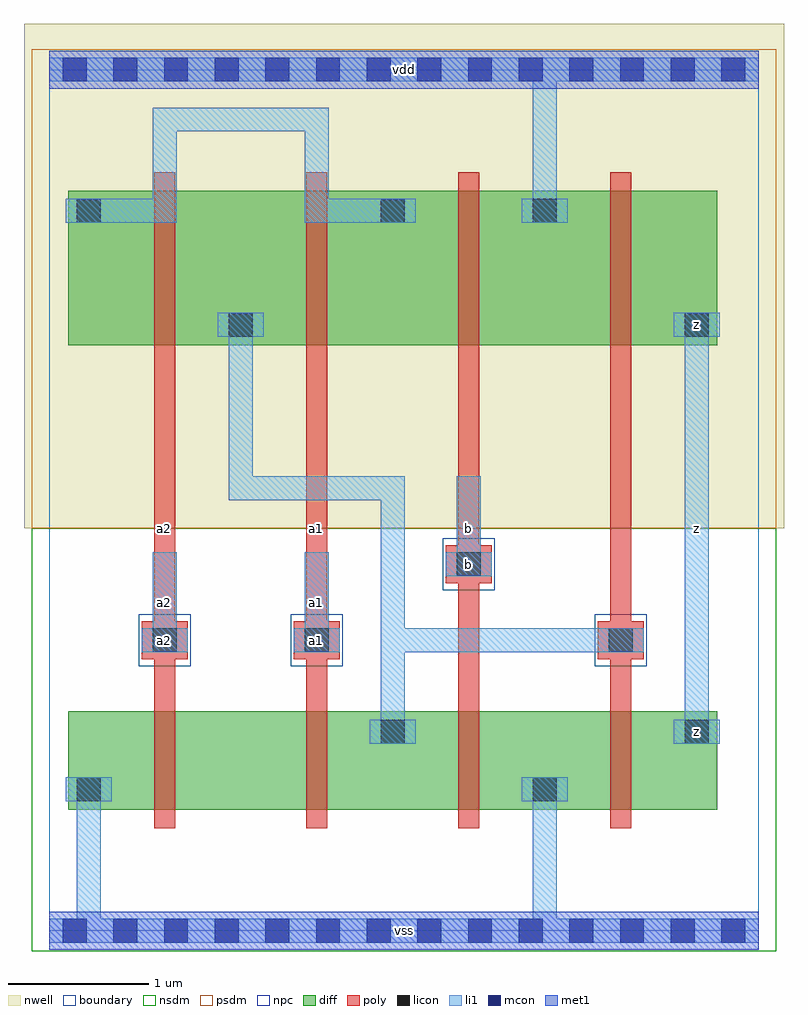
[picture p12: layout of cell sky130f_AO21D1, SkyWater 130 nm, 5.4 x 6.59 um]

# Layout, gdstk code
import gdstk
lib = gdstk.Library(unit=1e-6, precision=1e-09)
def R(c, l, rs):  # rectangles x0, y0, x1, y1
    for r in rs: c.add(gdstk.rectangle(r[:2], r[2:], *l))
def A(c, l, x, y, w, h, nx, ny, dx, dy):  # array of equal rectangles
    R(c, l, [(x+i*dx, y+j*dy, x+i*dx+w, y+j*dy+h) for i in range(nx) for j in range(ny)])
L0_0 = (0, 0)
nwell = (64, 20)
diff = (65, 20)
poly = (66, 20)
licon = (66, 44)
li1 = (67, 20)
mcon = (67, 44)
met1 = (68, 20)
nsdm = (93, 44)
psdm = (94, 20)
npc = (95, 20)
boundary = (235, 4)

sky130f_ao21d1 = lib.new_cell('sky130f_AO21D1')
R(sky130f_ao21d1, nwell, [(-0.18,2.86,5.22,6.445)])
A(sky130f_ao21d1, diff, 0.135, 0.86, 1.37, 0.7, 4, 1, 1.08, 0)
A(sky130f_ao21d1, diff, 0.135, 4.16, 1.37, 1.1, 4, 1, 1.08, 0)
R(sky130f_ao21d1, diff, [(0.135,0.86,0.425,1.15), (3.375,0.86,3.665,1.15), (2.295,1.27,2.585,1.56), (4.455,1.27,4.745,1.56), (1.215,4.16,1.505,4.45), (4.455,4.16,4.745,4.45), (0.135,4.97,0.425,5.26), (2.295,4.97,2.585,5.26), (3.375,4.97,3.665,5.26)])
A(sky130f_ao21d1, poly, 0.745, 0.73, 0.15, 0.96, 4, 1, 1.08, 0)
A(sky130f_ao21d1, poly, 0.745, 1.34, 0.15, 3.04, 3, 1, 1.08, 0)
A(sky130f_ao21d1, poly, 0.745, 4.03, 0.15, 1.36, 4, 1, 1.08, 0)
R(sky130f_ao21d1, poly, [(3.985,1.34,4.135,2.14), (0.655,1.93,0.985,2.2), (1.735,1.93,2.065,2.2), (3.895,1.93,4.225,2.2), (3.985,1.99,4.135,4.38), (2.815,2.47,3.145,2.74)])
R(sky130f_ao21d1, licon, [(0.195,0.92,0.365,1.09), (3.435,0.92,3.605,1.09), (2.355,1.33,2.525,1.5), (4.515,1.33,4.685,1.5), (0.735,1.98,0.905,2.15), (1.815,1.98,1.985,2.15), (3.975,1.98,4.145,2.15), (2.895,2.52,3.065,2.69), (1.275,4.22,1.445,4.39), (4.515,4.22,4.685,4.39), (0.195,5.03,0.365,5.2), (2.355,5.03,2.525,5.2), (3.435,5.03,3.605,5.2)])
R(sky130f_ao21d1, li1, [(0,-0.085,5.04,0.085), (0.195,0.06,0.365,1.09), (3.435,0.06,3.605,1.09), (0.115,0.92,0.445,1.09), (3.355,0.92,3.685,1.09), (2.275,1.33,2.605,1.5), (2.355,1.33,2.525,2.15), (4.435,1.33,4.765,1.5), (4.515,1.33,4.685,4.39), (0.655,1.98,0.985,2.15), (0.735,1.98,0.905,2.69), (1.735,1.98,2.065,2.15), (1.815,1.98,1.985,2.69), (2.355,1.98,4.145,2.15), (2.355,1.98,2.525,3.23), (3.895,1.98,4.225,2.15), (2.815,2.52,3.145,2.69), (2.895,2.52,3.065,3.23), (1.275,3.06,2.525,3.23), (1.275,3.06,1.445,4.39), (1.195,4.22,1.525,4.39), (4.435,4.22,4.765,4.39), (0.115,5.03,0.445,5.2), (0.195,5.03,0.905,5.2), (0.735,5.03,0.905,5.85), (1.815,5.03,1.985,5.85), (1.815,5.03,2.525,5.2), (2.275,5.03,2.605,5.2), (3.355,5.03,3.685,5.2), (3.435,5.03,3.605,6.06), (0.735,5.68,1.985,5.85), (0,6.035,5.04,6.205)])
A(sky130f_ao21d1, mcon, 0.095, -0.085, 0.17, 0.17, 14, 2, 0.36, 6.12)
R(sky130f_ao21d1, met1, [(0,-0.135,5.04,0.135), (0,5.985,5.04,6.255)])
R(sky130f_ao21d1, nsdm, [(-0.125,-0.145,5.165,0.145), (-0.125,0.145,5.165,2.86)])
R(sky130f_ao21d1, psdm, [(-0.125,2.86,5.165,5.975), (-0.125,5.975,5.165,6.265)])
R(sky130f_ao21d1, npc, [(0.635,1.88,1.005,2.25), (1.715,1.88,2.085,2.25), (3.875,1.88,4.245,2.25), (2.795,2.42,3.165,2.79)])
R(sky130f_ao21d1, boundary, [(0,0,5.04,6.12)])
sky130f_ao21d1.add(gdstk.FlexPath([(0.115,0.355),(4.765,0.355)], 0, ends="flush", simple_path=True, layer=0, datatype=0))  # L0_0
sky130f_ao21d1.add(gdstk.FlexPath([(0.115,1.005),(4.765,1.005)], 0, ends="flush", simple_path=True, layer=0, datatype=0))  # L0_0
sky130f_ao21d1.add(gdstk.FlexPath([(0.115,1.415),(4.765,1.415)], 0, ends="flush", simple_path=True, layer=0, datatype=0))  # L0_0
sky130f_ao21d1.add(gdstk.FlexPath([(0.115,2.065),(4.765,2.065)], 0, ends="flush", simple_path=True, layer=0, datatype=0))  # L0_0
sky130f_ao21d1.add(gdstk.FlexPath([(0.115,2.605),(4.765,2.605)], 0, ends="flush", simple_path=True, layer=0, datatype=0))  # L0_0
sky130f_ao21d1.add(gdstk.FlexPath([(0.115,3.145),(4.765,3.145)], 0, ends="flush", simple_path=True, layer=0, datatype=0))  # L0_0
sky130f_ao21d1.add(gdstk.FlexPath([(0.115,4.305),(4.765,4.305)], 0, ends="flush", simple_path=True, layer=0, datatype=0))  # L0_0
sky130f_ao21d1.add(gdstk.FlexPath([(0.115,4.775),(4.765,4.775)], 0, ends="flush", simple_path=True, layer=0, datatype=0))  # L0_0
sky130f_ao21d1.add(gdstk.FlexPath([(0.115,5.115),(4.765,5.115)], 0, ends="flush", simple_path=True, layer=0, datatype=0))  # L0_0
sky130f_ao21d1.add(gdstk.FlexPath([(0.115,5.765),(4.765,5.765)], 0, ends="flush", simple_path=True, layer=0, datatype=0))  # L0_0
sky130f_ao21d1.add(gdstk.FlexPath([(0.28,0.06),(0.28,6.06)], 0, ends="flush", simple_path=True, layer=0, datatype=0))  # L0_0
sky130f_ao21d1.add(gdstk.FlexPath([(0.82,0.06),(0.82,6.06)], 0, ends="flush", simple_path=True, layer=0, datatype=0))  # L0_0
sky130f_ao21d1.add(gdstk.FlexPath([(1.36,0.06),(1.36,6.06)], 0, ends="flush", simple_path=True, layer=0, datatype=0))  # L0_0
sky130f_ao21d1.add(gdstk.FlexPath([(1.9,0.06),(1.9,6.06)], 0, ends="flush", simple_path=True, layer=0, datatype=0))  # L0_0
sky130f_ao21d1.add(gdstk.FlexPath([(2.44,0.06),(2.44,6.06)], 0, ends="flush", simple_path=True, layer=0, datatype=0))  # L0_0
sky130f_ao21d1.add(gdstk.FlexPath([(2.98,0.06),(2.98,6.06)], 0, ends="flush", simple_path=True, layer=0, datatype=0))  # L0_0
sky130f_ao21d1.add(gdstk.FlexPath([(3.52,0.06),(3.52,6.06)], 0, ends="flush", simple_path=True, layer=0, datatype=0))  # L0_0
sky130f_ao21d1.add(gdstk.FlexPath([(4.06,0.06),(4.06,6.06)], 0, ends="flush", simple_path=True, layer=0, datatype=0))  # L0_0
sky130f_ao21d1.add(gdstk.FlexPath([(4.6,0.06),(4.6,6.06)], 0, ends="flush", simple_path=True, layer=0, datatype=0))  # L0_0
sky130f_ao21d1.add(gdstk.Label('z', (4.6,1.415), layer=65, texttype=20))
sky130f_ao21d1.add(gdstk.Label('z', (4.6,4.305), layer=65, texttype=20))
sky130f_ao21d1.add(gdstk.Label('a2', (0.82,2.86), layer=66, texttype=20))
sky130f_ao21d1.add(gdstk.Label('a2', (0.82,2.065), layer=66, texttype=20))
sky130f_ao21d1.add(gdstk.Label('a1', (1.9,2.86), layer=66, texttype=20))
sky130f_ao21d1.add(gdstk.Label('a1', (1.9,2.065), layer=66, texttype=20))
sky130f_ao21d1.add(gdstk.Label('b', (2.98,2.86), layer=66, texttype=20))
sky130f_ao21d1.add(gdstk.Label('b', (2.98,2.605), layer=66, texttype=20))
sky130f_ao21d1.add(gdstk.Label('z', (4.6,1.415), layer=66, texttype=44))
sky130f_ao21d1.add(gdstk.Label('z', (4.6,4.305), layer=66, texttype=44))
sky130f_ao21d1.add(gdstk.Label('a2', (0.82,2.065), layer=66, texttype=44))
sky130f_ao21d1.add(gdstk.Label('a1', (1.9,2.065), layer=66, texttype=44))
sky130f_ao21d1.add(gdstk.Label('b', (2.98,2.605), layer=66, texttype=44))
sky130f_ao21d1.add(gdstk.Label('a2', (0.82,2.065), layer=67, texttype=5))
sky130f_ao21d1.add(gdstk.Label('a2', (0.82,2.335), layer=67, texttype=5))
sky130f_ao21d1.add(gdstk.Label('a1', (1.9,2.065), layer=67, texttype=5))
sky130f_ao21d1.add(gdstk.Label('a1', (1.9,2.335), layer=67, texttype=5))
sky130f_ao21d1.add(gdstk.Label('b', (2.98,2.605), layer=67, texttype=5))
sky130f_ao21d1.add(gdstk.Label('b', (2.98,2.875), layer=67, texttype=5))
sky130f_ao21d1.add(gdstk.Label('z', (4.6,1.415), layer=67, texttype=5))
sky130f_ao21d1.add(gdstk.Label('z', (4.6,4.305), layer=67, texttype=5))
sky130f_ao21d1.add(gdstk.Label('z', (4.6,2.86), layer=67, texttype=5))
sky130f_ao21d1.add(gdstk.Label('vss', (2.52,0), layer=67, texttype=5))
sky130f_ao21d1.add(gdstk.Label('vdd', (2.52,6.12), layer=67, texttype=5))
sky130f_ao21d1.add(gdstk.Label('vss', (2.52,0), layer=68, texttype=5))
sky130f_ao21d1.add(gdstk.Label('vdd', (2.52,6.12), layer=68, texttype=5))

lib.write_gds('sky130f_AO21D1.gds')
